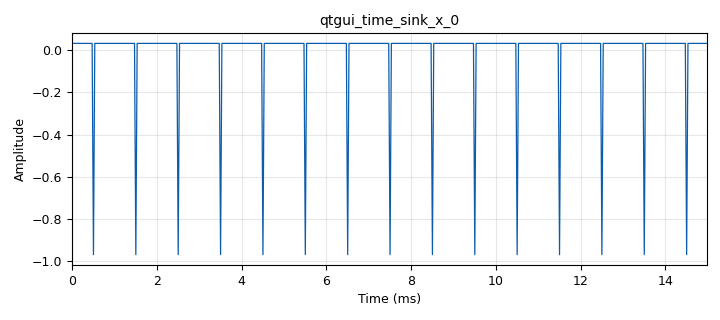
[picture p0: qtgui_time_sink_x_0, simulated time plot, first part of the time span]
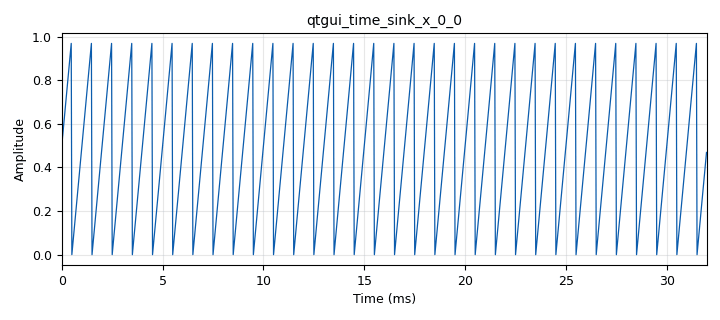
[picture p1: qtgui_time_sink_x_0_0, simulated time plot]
options:
  parameters:
    generate_options: qt_gui
    id: untitled
    output_language: python
    title: Not titled yet
  states: {}

blocks:
- name: samp_rate
  id: variable
  parameters:
    value: '32000'
  states: {}
- name: analog_sig_source_x_0
  id: analog_sig_source_x
  parameters:
    amp: '1'
    freq: '1000'
    offset: '0'
    phase: '0'
    samp_rate: samp_rate
    type: float
    waveform: analog.GR_SAW_WAVE
  states: {}
- name: epy_block_0
  id: epy_block
  parameters:
    _source_code: |
      """
      Embedded Python Blocks:

      Each time this file is saved, GRC will instantiate the first class it finds
      to get ports and parameters of your block. The arguments to __init__  will
      be the parameters. All of them are required to have default values!
      """

      import numpy as np
      from gnuradio import gr

      class blk(gr.sync_block):
          def __init__(self):
              gr.sync_block.__init__(
                  self,
                  name="Diferenciador",
                  in_sig=[np.float32],
                  out_sig=[np.float32]
              )
              self.prev = 0.0

          def work(self, input_items, output_items):
              x = input_items[0]
              y = output_items[0]

              y[0] = x[0] - self.prev
              y[1:] = x[1:] - x[:-1]

              self.prev = x[-1]

              return len(y)
  states: {}
- name: qtgui_time_sink_x_0
  id: qtgui_time_sink_x
  parameters:
    autoscale: 'True'
    size: '1024'
    srate: samp_rate
    type: float
  states: {}
- name: qtgui_time_sink_x_0_0
  id: qtgui_time_sink_x
  parameters:
    autoscale: 'True'
    size: '1024'
    srate: samp_rate
    type: float
  states: {}

connections:
- [analog_sig_source_x_0, '0', epy_block_0, '0']
- [analog_sig_source_x_0, '0', qtgui_time_sink_x_0_0, '0']
- [epy_block_0, '0', qtgui_time_sink_x_0, '0']

metadata:
  file_format: 1
  grc_version: 3.10.9.2
